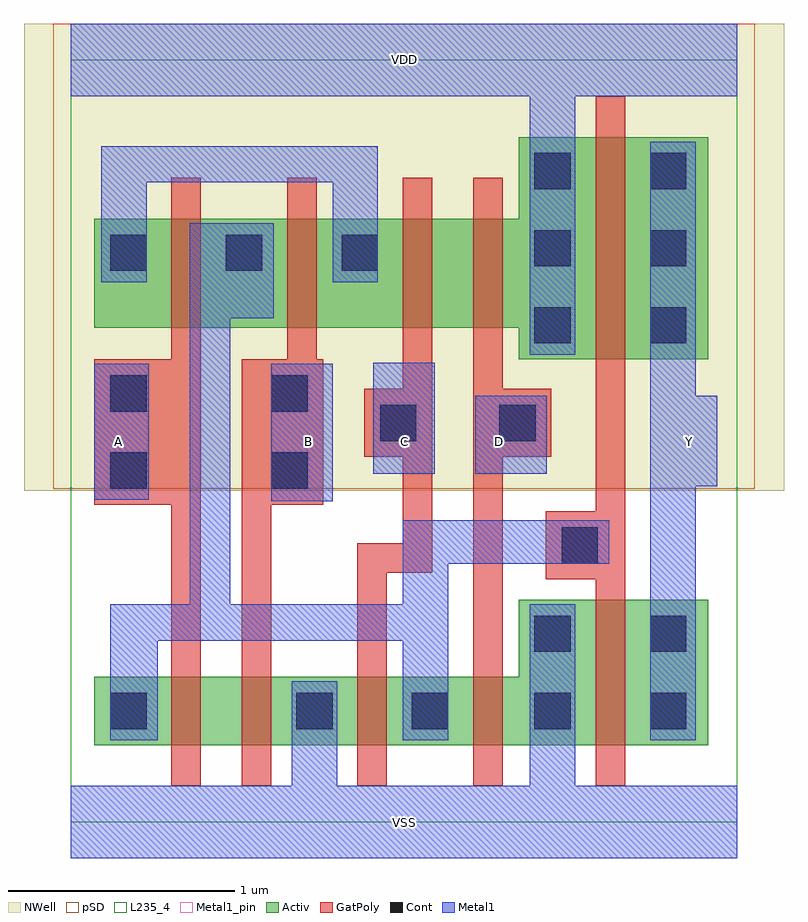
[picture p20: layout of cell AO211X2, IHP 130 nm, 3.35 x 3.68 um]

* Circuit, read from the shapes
.subckt AO211X2 A B C D VDD VSS Y
XM1 n1 A n2 VSUBS sg13_lv_nmos w=0.3u l=0.13u
XM2 VSS B n1 VSUBS sg13_lv_nmos w=0.3u l=0.13u
XM3 n2 C VSS VSUBS sg13_lv_nmos w=0.3u l=0.13u
XM4 VSS D n2 VSUBS sg13_lv_nmos w=0.3u l=0.13u
XM5 Y n2 VSS VSUBS sg13_lv_nmos w=0.64u l=0.13u
XM6 n2 A n3 n4 sg13_lv_pmos w=0.48u l=0.13u
XM7 n3 B n2 n4 sg13_lv_pmos w=0.48u l=0.13u
XM8 n5 C n3 n4 sg13_lv_pmos w=0.48u l=0.13u
XM9 VDD D n5 n4 sg13_lv_pmos w=0.48u l=0.13u
XM10 Y n2 VDD n4 sg13_lv_pmos w=0.98u l=0.13u
.ends

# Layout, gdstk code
import gdstk
lib = gdstk.Library(unit=1e-6, precision=1e-09)
def R(c, l, rs):  # rectangles x0, y0, x1, y1
    for r in rs: c.add(gdstk.rectangle(r[:2], r[2:], *l))
def A(c, l, x, y, w, h, nx, ny, dx, dy):  # array of equal rectangles
    R(c, l, [(x+i*dx, y+j*dy, x+i*dx+w, y+j*dy+h) for i in range(nx) for j in range(ny)])
def P(c, l, *ps):  # polygons
    for p in ps: c.add(gdstk.Polygon(p, *l))
Activ = (1, 0)
GatPoly = (5, 0)
Cont = (6, 0)
Metal1 = (8, 0)
Metal1_pin = (8, 2)
pSD = (14, 0)
NWell = (31, 0)
L235_4 = (235, 4)

ao211x2 = lib.new_cell('AO211X2')
P(ao211x2, Activ, [(2.81,3.02),(1.975,3.02),(1.975,2.66),(0.105,2.66),(0.105,2.18),(1.975,2.18),(1.975,2.04),(2.81,2.04)],
  [(2.81,0.98),(1.975,0.98),(1.975,0.64),(0.105,0.64),(0.105,0.34),(2.81,0.34)])
P(ao211x2, GatPoly, [(1.595,2.84),(1.465,2.84),(1.465,1.91),(1.295,1.91),(1.295,1.61),(1.465,1.61),(1.465,1.23),(1.265,1.23),(1.265,0.16),(1.395,0.16),(1.395,1.1),(1.595,1.1)],
  [(0.575,2.84),(0.445,2.84),(0.445,2.04),(0.105,2.04),(0.105,1.4),(0.445,1.4),(0.445,0.16),(0.575,0.16)],
  [(2.12,1.91),(1.905,1.91),(1.905,2.84),(1.775,2.84),(1.775,0.16),(1.905,0.16),(1.905,1.61),(2.12,1.61)],
  [(1.115,2.04),(1.085,2.04),(1.085,2.84),(0.955,2.84),(0.955,2.04),(0.755,2.04),(0.755,0.16),(0.885,0.16),(0.885,1.4),(1.115,1.4)],
  [(2.445,3.2),(2.315,3.2),(2.315,1.37),(2.095,1.37),(2.095,1.07),(2.315,1.07),(2.315,0.16),(2.445,0.16)])
A(ao211x2, Cont, 2.045, 2.11, 0.16, 0.16, 1, 3, 0, 0.34)
A(ao211x2, Cont, 2.555, 2.11, 0.16, 0.16, 1, 3, 0, 0.34)
A(ao211x2, Cont, 0.175, 2.43, 0.16, 0.16, 3, 1, 0.51, 0)
R(ao211x2, Cont, [(0.175,0.41,0.335,0.57), (0.995,0.41,1.155,0.57), (1.505,0.41,1.665,0.57), (2.045,0.41,2.205,0.57), (2.555,0.41,2.715,0.57), (2.045,0.75,2.205,0.91), (2.555,0.75,2.715,0.91), (2.165,1.14,2.325,1.3), (0.175,1.47,0.335,1.63), (0.885,1.47,1.045,1.63), (1.365,1.68,1.525,1.84), (1.89,1.68,2.05,1.84), (0.175,1.81,0.335,1.97), (0.885,1.81,1.045,1.97)])
R(ao211x2, Metal1, [(0.885,1.415,1.155,2.02), (0.105,1.42,0.345,2.02), (1.335,1.535,1.605,2.025), (1.785,1.535,2.1,1.88)])
P(ao211x2, Metal1, [(2.94,0.16),(2.225,0.16),(2.225,0.96),(2.025,0.96),(2.025,0.16),(1.175,0.16),(1.175,0.62),(0.975,0.62),(0.975,0.16),(0,0.16),(0,-0.16),(2.94,-0.16)],
  [(2.94,3.52),(0,3.52),(0,3.2),(2.025,3.2),(2.025,2.06),(2.225,2.06),(2.225,3.2),(2.94,3.2)],
  [(2.85,1.88),(2.755,1.88),(2.755,3),(2.555,3),(2.555,0.36),(2.755,0.36),(2.755,1.48),(2.85,1.48)],
  [(1.355,2.98),(0.135,2.98),(0.135,2.38),(0.335,2.38),(0.335,2.82),(1.155,2.82),(1.155,2.38),(1.355,2.38)],
  [(2.375,1.33),(1.465,1.33),(1.465,0.96),(0.705,0.96),(0.705,2.22),(0.895,2.22),(0.895,2.64),(0.525,2.64),(0.525,0.96),(0.175,0.96),(0.175,0.36),(0.385,0.36),(0.385,0.8),(1.465,0.8),(1.465,0.36),(1.665,0.36),(1.665,1.14),(2.375,1.14)])
R(ao211x2, Metal1_pin, [(0,-0.16,2.94,0.16), (0.975,0.16,1.175,0.62), (2.555,0.36,2.755,3), (0.885,1.415,1.155,2.02), (0.105,1.42,0.345,2.02), (1.335,1.535,1.605,2.025), (1.785,1.535,2.1,1.88), (0,3.2,2.94,3.52)])
P(ao211x2, Metal1_pin, [(2.85,1.88),(2.755,1.88),(2.755,3),(2.555,3),(2.555,0.36),(2.755,0.36),(2.755,1.48),(2.85,1.48)],
  [(2.94,0.16),(2.225,0.16),(2.225,0.96),(2.025,0.96),(2.025,0.16),(0,0.16),(0,-0.16),(2.94,-0.16)],
  [(2.94,3.52),(0,3.52),(0,3.2),(2.025,3.2),(2.025,2.06),(2.225,2.06),(2.225,3.2),(2.94,3.2)])
R(ao211x2, pSD, [(-0.075,1.47,3.015,3.52)])
R(ao211x2, NWell, [(-0.205,1.46,3.145,3.52)])
R(ao211x2, L235_4, [(0,0,2.94,3.36)])
ao211x2.add(gdstk.Label('A', (0.21,1.68), layer=8, texttype=25))
ao211x2.add(gdstk.Label('C', (1.47,1.68), layer=8, texttype=25))
ao211x2.add(gdstk.Label('B', (1.05,1.68), layer=8, texttype=25))
ao211x2.add(gdstk.Label('VDD', (1.47,3.36), layer=8, texttype=25))
ao211x2.add(gdstk.Label('VSS', (1.47,0), layer=8, texttype=25))
ao211x2.add(gdstk.Label('Y', (2.73,1.68), layer=8, texttype=25))
ao211x2.add(gdstk.Label('D', (1.89,1.68), layer=8, texttype=25))

lib.write_gds('AO211X2.gds')
